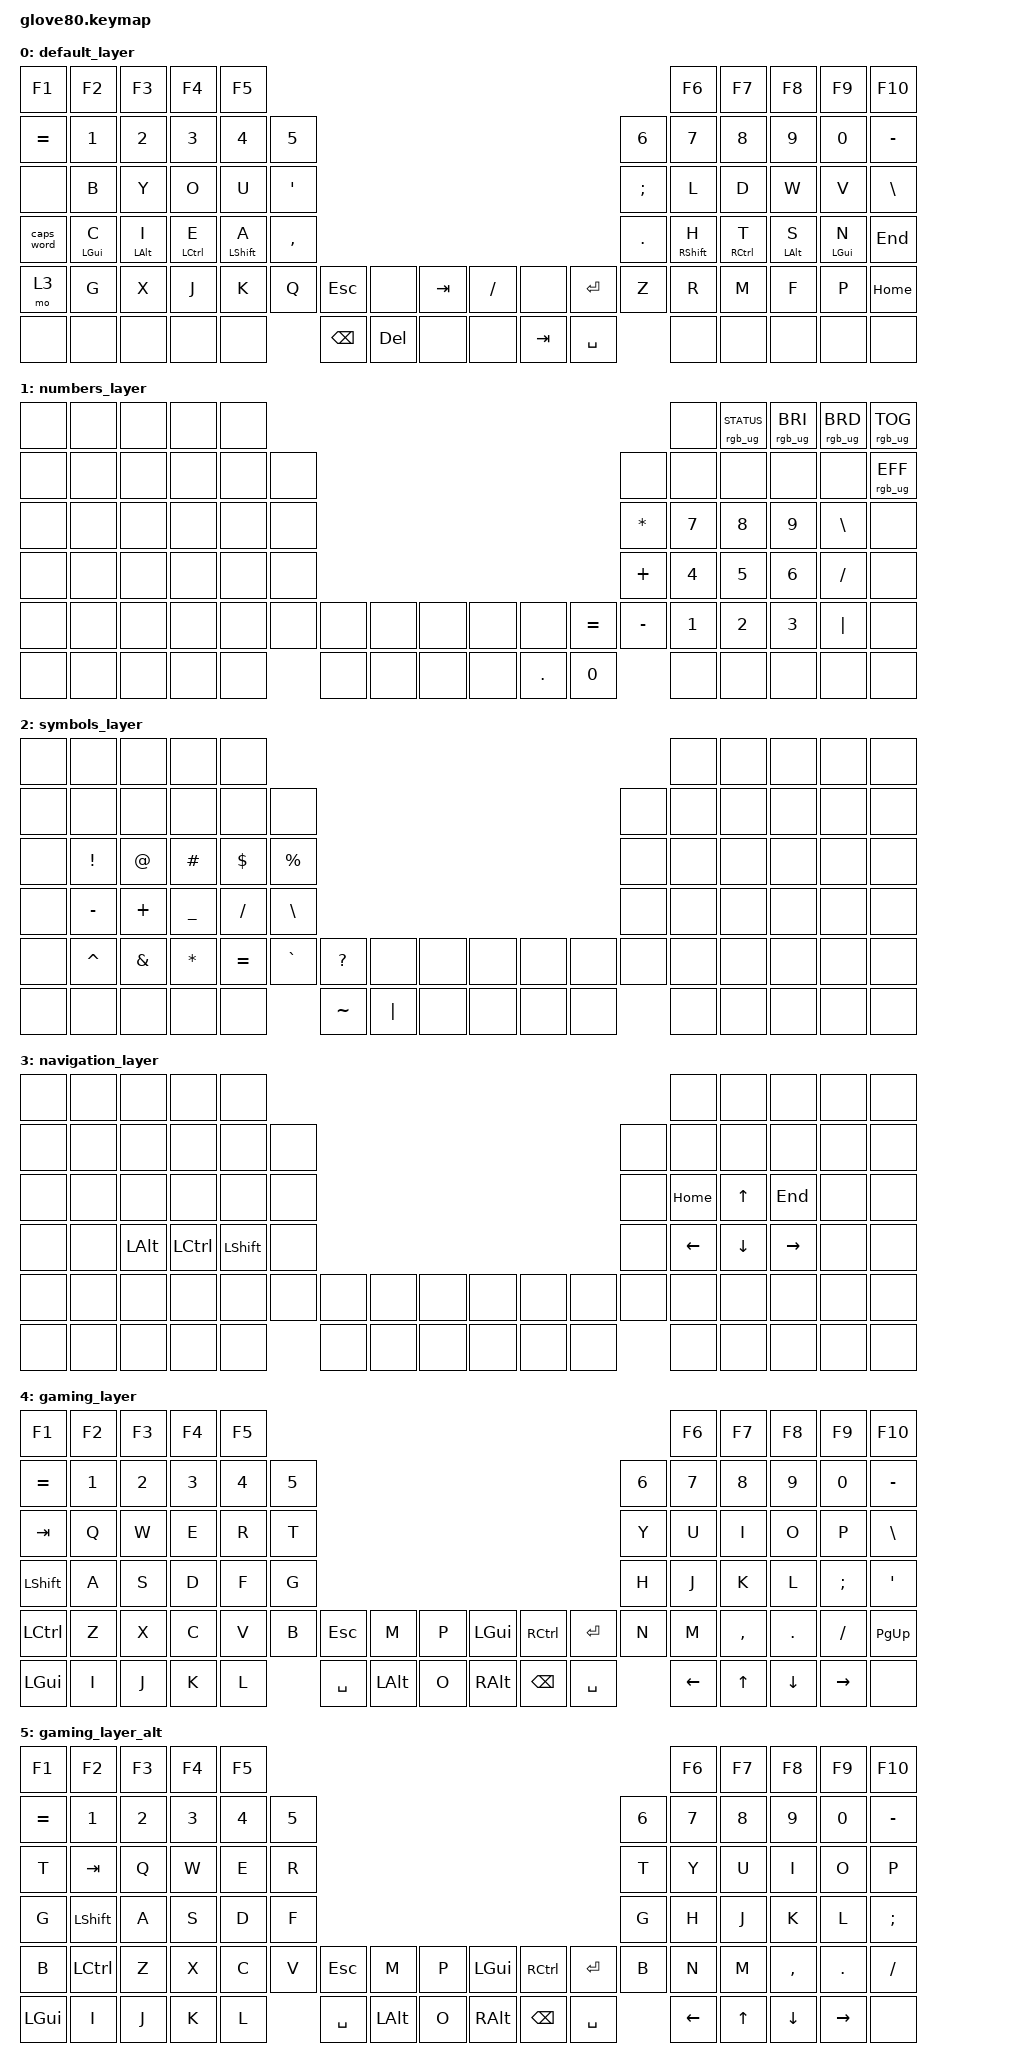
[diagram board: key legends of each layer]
/*
 * Copyright (c) 2020 The ZMK Contributors
 *
 * SPDX-License-Identifier: MIT
 */

#include <behaviors.dtsi>
#include <dt-bindings/zmk/keys.h>
#include <dt-bindings/zmk/bt.h>
#include <dt-bindings/zmk/ext_power.h>
#include <dt-bindings/zmk/outputs.h>
#include <dt-bindings/zmk/rgb.h>

#define HYPER LC(LS(LG(LALT)))

/ {

    behaviors {
        hm: homerow_mods {
            compatible = "zmk,behavior-hold-tap";
            label = "HOMEROW_MODS";
            #binding-cells = <2>;
            flavor = "balanced";
            tapping-term-ms = <200>;
            quick-tap-ms = <125>;
            global-quick-tap;
            bindings = <&kp>, <&kp>;
        };
    };

    combos {
        compatible = "zmk,combos";

        lpar {
            bindings = <&kp LEFT_PARENTHESIS>;
            key-positions = <38 39>;
            layers = <0>;
        };

        rpar {
            bindings = <&kp RIGHT_PARENTHESIS>;
            key-positions = <40 41>;
            layers = <0>;
        };

        lbracket {
            bindings = <&kp LEFT_BRACKET>;
            key-positions = <26 27>;
            layers = <0>;
        };

        rbracket {
            bindings = <&kp RIGHT_BRACKET>;
            key-positions = <28 29>;
            layers = <0>;
        };

        lbrace {
            bindings = <&kp LEFT_BRACE>;
            key-positions = <50 51>;
            layers = <0>;
        };

        rbrace {
            bindings = <&kp RIGHT_BRACE>;
            key-positions = <58 59>;
            layers = <0>;
        };

        question {
            bindings = <&kp QUESTION>;
            key-positions = <39 40>;
            layers = <0>;
        };

        slash {
            bindings = <&kp SLASH>;
            key-positions = <69 74>;
            layers = <0>;
        };

        usenumberslayer {
            bindings = <&mo 1>;
            key-positions = <38 69>;
            layers = <0>;
        };

        usesymbolslayer {
            bindings = <&mo 2>;
            key-positions = <41 74>;
            layers = <0>;
        };

        tobaselayer {
            bindings = <&to 0>;
            key-positions = <36 37 38>;
        };

        togamelayer {
            bindings = <&to 4>;
            key-positions = <66 67 68>;
        };

        togamelayeralt {
            bindings = <&to 5>;
            key-positions = <75 76 77>;
        };

        tonumbers {
            bindings = <&to 1>;
            key-positions = <41 42 43>;
        };
    };

    keymap {
        compatible = "zmk,keymap";

        // -------------------------------------------------------------KEY NUMBERS-----------------------------------------------------------------
        // |  0   |  1   |  2   |  3   |  4   |                                                                |  5   |  6   |  7   |  8   |  9   |
        // |  10  |  11  |  12  |  13  |  14  |  15  |                                                  |  16  |  17  |  18  |  19  |  20  |  21  |
        // |  22  |  23  |  24  |  25  |  26  |  27  |                                                  |  28  |  29  |  30  |  31  |  32  |  33  |
        // |  34  |  35  |  36  |  37  |  38  |  39  |                                                  |  40  |  41  |  42  |  43  |  44  |  45  |
        // |  46  |  47  |  48  |  49  |  50  |  51  ||||  52  |  53  |  54  ||||  55  |  56  |  57  ||||  58  |  59  |  60  |  61  |  62  |  63  |
        // |  64  |  65  |  66  |  67  |  68  |        ||  69  |  70  |  71  ||||  72  |  73  |  74  ||        |  75  |  76  |  77  |  78  |  79  |

        default_layer {
            bindings = <
            &kp F1      &kp F2      &kp F3      &kp F4       &kp F5                                                                                                       &kp F6        &kp F7       &kp F8      &kp F9      &kp F10
            &kp EQUAL   &kp N1      &kp N2      &kp N3       &kp N4        &kp N5                                                                         &kp N6          &kp N7        &kp N8       &kp N9      &kp N0      &kp MINUS
            &none       &kp B       &kp Y       &kp O        &kp U         &kp APOSTROPHE                                                                 &kp SEMICOLON   &kp L         &kp D        &kp W       &kp V       &kp BSLH
            &caps_word  &hm LGUI C  &hm LALT I  &hm LCTRL E  &hm LSHIFT A  &kp COMMA                                                                      &kp PERIOD      &hm RSHIFT H  &hm RCTRL T  &hm LALT S  &hm LGUI N  &kp END
            &mo 3       &kp G       &kp X       &kp J        &kp K         &kp Q           &kp ESC   &none    &kp TAB      &kp SLASH  &none    &kp RET    &kp Z           &kp R         &kp M        &kp F       &kp P       &kp HOME
            &none       &none       &none       &none        &none                         &kp BSPC  &kp DEL  &none        &none      &kp TAB  &kp SPACE                  &none         &none        &none       &none       &none
            >;
        };

        numbers_layer {
            bindings = <
            &none  &none  &none  &none  &none                                                                      &none   &rgb_ug RGB_STATUS  &rgb_ug RGB_BRI  &rgb_ug RGB_BRD  &rgb_ug RGB_TOG
            &none  &none  &none  &none  &none  &none                                                    &none      &none   &none               &none            &none            &rgb_ug RGB_EFF
            &none  &none  &none  &none  &none  &none                                                    &kp STAR   &kp N7  &kp N8              &kp N9           &kp BSLH         &none
            &none  &none  &none  &none  &none  &none                                                    &kp PLUS   &kp N4  &kp N5              &kp N6           &kp SLASH        &none
            &none  &none  &none  &none  &none  &none  &none  &none  &none    &none  &none    &kp EQUAL  &kp MINUS  &kp N1  &kp N2              &kp N3           &kp PIPE         &none
            &none  &none  &none  &none  &none         &none  &none  &none    &none  &kp DOT  &kp N0                &none   &none               &none            &none            &none
            >;
        };

        symbols_layer {
            bindings = <
            &none  &none      &none     &none      &none                                                                           &none  &none  &none  &none  &none
            &none  &none      &none     &none      &none      &none                                                         &none  &none  &none  &none  &none  &none
            &none  &kp EXCL   &kp AT    &kp HASH   &kp DLLR   &kp PRCNT                                                     &none  &none  &none  &none  &none  &none
            &none  &kp MINUS  &kp PLUS  &kp UNDER  &kp SLASH  &kp BSLH                                                      &none  &none  &none  &none  &none  &none
            &none  &kp CARET  &kp AMPS  &kp STAR   &kp EQUAL  &kp GRAVE  &kp QMARK  &none     &none    &none  &none  &none  &none  &none  &none  &none  &none  &none
            &none  &none      &none     &none      &none                 &kp TILDE  &kp PIPE  &none    &none  &none  &none         &none  &none  &none  &none  &none
            >;
        };

        navigation_layer {
            bindings = <
            &none  &none  &none     &none      &none                                                                 &none     &none     &none      &none  &none
            &none  &none  &none     &none      &none       &none                                              &none  &none     &none     &none      &none  &none
            &none  &none  &none     &none      &none       &none                                              &none  &kp HOME  &kp UP    &kp END    &none  &none
            &none  &none  &kp LALT  &kp LCTRL  &kp LSHIFT  &none                                              &none  &kp LEFT  &kp DOWN  &kp RIGHT  &none  &none
            &none  &none  &none     &none      &none       &none  &none  &none  &none    &none  &none  &none  &none  &none     &none     &none      &none  &none
            &none  &none  &none     &none      &none              &none  &none  &none    &none  &none  &none         &none     &none     &none      &none  &none
            >;
        };

        gaming_layer {
            bindings = <
            &kp F1     &kp F2  &kp F3  &kp F4  &kp F5                                                                                &kp F6    &kp F7     &kp F8    &kp F9     &kp F10
            &kp EQUAL  &kp N1  &kp N2  &kp N3  &kp N4  &kp N5                                                                &kp N6  &kp N7    &kp N8     &kp N9    &kp N0     &kp MINUS
            &kp TAB    &kp Q   &kp W   &kp E   &kp R   &kp T                                                                 &kp Y   &kp U     &kp I      &kp O     &kp P      &kp BSLH
            &kp LSHFT  &kp A   &kp S   &kp D   &kp F   &kp G                                                                 &kp H   &kp J     &kp K      &kp L     &kp SEMI   &kp SQT
            &kp LCTRL  &kp Z   &kp X   &kp C   &kp V   &kp B   &kp ESC    &kp M     &kp P    &kp LGUI  &kp RCTRL  &kp RET    &kp N   &kp M     &kp COMMA  &kp DOT   &kp FSLH   &kp PG_UP
            &kp LGUI   &kp I   &kp J   &kp K   &kp L           &kp SPACE  &kp LALT  &kp O    &kp RALT  &kp BSPC   &kp SPACE          &kp LEFT  &kp UP     &kp DOWN  &kp RIGHT  &none
            >;
        };

        gaming_layer_alt {
            bindings = <
            &kp F1     &kp F2     &kp F3  &kp F4  &kp F5                                                                                &kp F6    &kp F7  &kp F8     &kp F9     &kp F10
            &kp EQUAL  &kp N1     &kp N2  &kp N3  &kp N4  &kp N5                                                                &kp N6  &kp N7    &kp N8  &kp N9     &kp N0     &kp MINUS
            &kp T      &kp TAB    &kp Q   &kp W   &kp E   &kp R                                                                 &kp T   &kp Y     &kp U   &kp I      &kp O      &kp P
            &kp G      &kp LSHFT  &kp A   &kp S   &kp D   &kp F                                                                 &kp G   &kp H     &kp J   &kp K      &kp L      &kp SEMI
            &kp B      &kp LCTRL  &kp Z   &kp X   &kp C   &kp V   &kp ESC    &kp M     &kp P    &kp LGUI  &kp RCTRL  &kp RET    &kp B   &kp N     &kp M   &kp COMMA  &kp DOT    &kp FSLH
            &kp LGUI   &kp I      &kp J   &kp K   &kp L           &kp SPACE  &kp LALT  &kp O    &kp RALT  &kp BSPC   &kp SPACE          &kp LEFT  &kp UP  &kp DOWN   &kp RIGHT  &none
            >;
        };

        // none_layer {
        //     bindings = <
        //     &none  &none  &none  &none  &none                                                            &none  &none  &none  &none  &none
        //     &none  &none  &none  &none  &none  &none                                              &none  &none  &none  &none  &none  &none
        //     &none  &none  &none  &none  &none  &none                                              &none  &none  &none  &none  &none  &none
        //     &none  &none  &none  &none  &none  &none                                              &none  &none  &none  &none  &none  &none
        //     &none  &none  &none  &none  &none  &none  &none  &none  &none    &none  &none  &none  &none  &none  &none  &none  &none  &none
        //     &none  &none  &none  &none  &none         &none  &none  &none    &none  &none  &none         &none  &none  &none  &none  &none
        //     >;
        // };
    };
};
